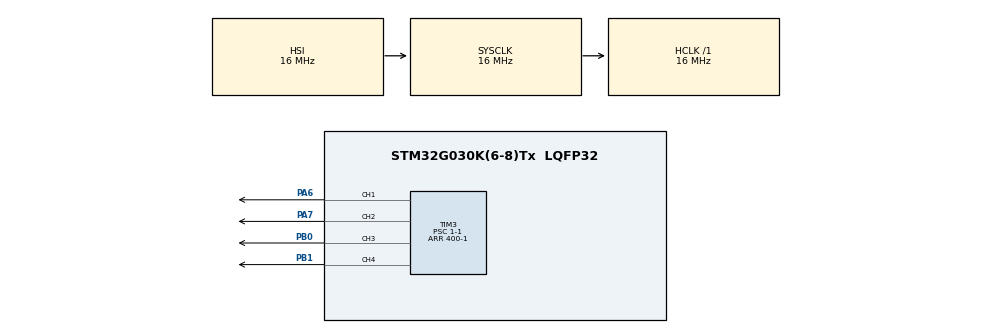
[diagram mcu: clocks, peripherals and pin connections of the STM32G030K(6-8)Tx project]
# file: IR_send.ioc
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Mcu.Family=STM32G0
Mcu.Name=STM32G030K(6-8)Tx
Mcu.Package=LQFP32
NVIC.TIM1_BRK_UP_TRG_COM_IRQn=true\:0\:0\:false\:false\:true\:true\:true\:true
PA13.Mode=Serial_Wire
PA13.Signal=SYS_SWDIO
PA14-BOOT0.Mode=Serial_Wire
PA14-BOOT0.Signal=SYS_SWCLK
PA6.Signal=S_TIM3_CH1
PA7.Signal=S_TIM3_CH2
PB0.Signal=S_TIM3_CH3
PB1.Signal=S_TIM3_CH4
ProjectManager.HeapSize=0x200
ProjectManager.StackSize=0x400
ProjectManager.TargetToolchain=STM32CubeIDE
RCC.AHBFreq_Value=16000000
RCC.CortexFreq_Value=16000000
RCC.EXTERNAL_CLOCK_VALUE=12288000
RCC.HCLKFreq_Value=16000000
RCC.HSE_VALUE=8000000
RCC.HSI_VALUE=16000000
RCC.LSE_VALUE=32768
RCC.SYSCLKFreq_VALUE=16000000
RCC.VCOOutputFreq_Value=128000000
SH.S_TIM3_CH1.0=TIM3_CH1,PWM Generation1 CH1
SH.S_TIM3_CH2.0=TIM3_CH2,PWM Generation2 CH2
SH.S_TIM3_CH3.0=TIM3_CH3,PWM Generation3 CH3
SH.S_TIM3_CH4.0=TIM3_CH4,PWM Generation4 CH4
TIM1.Period=256-1
TIM1.Prescaler=16000-1
TIM3.Channel-PWM\ Generation1\ CH1=TIM_CHANNEL_1
TIM3.Channel-PWM\ Generation2\ CH2=TIM_CHANNEL_2
TIM3.Channel-PWM\ Generation3\ CH3=TIM_CHANNEL_3
TIM3.Channel-PWM\ Generation4\ CH4=TIM_CHANNEL_4
TIM3.Period=400-1
TIM3.Prescaler=1-1
VP_TIM1_VS_ClockSourceINT.Mode=Internal
VP_TIM3_VS_ClockSourceINT.Mode=Internal
board=custom

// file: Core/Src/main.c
/* USER CODE BEGIN Header */
/**
  ******************************************************************************
  * @file           : main.c
  * @brief          : Main program body
  ******************************************************************************
  * @attention
  *
  * Copyright (c) 2024 STMicroelectronics.
  * All rights reserved.
  *
  * This software is licensed under terms that can be found in the LICENSE file
  * in the root directory of this software component.
  * If no LICENSE file comes with this software, it is provided AS-IS.
  *
  ******************************************************************************
  */
/* USER CODE END Header */
#include "main.h"

TIM_HandleTypeDef htim1;
TIM_HandleTypeDef htim3;

/* USER CODE BEGIN PV */
uint32_t tenth_of_a_millisecond = 0;
uint32_t overflow_counter = 0;

/* USER CODE END PV */

void SystemClock_Config(void);
static void MX_GPIO_Init(void);
static void MX_TIM1_Init(void);
static void MX_TIM3_Init(void);
/* USER CODE BEGIN PFP */
uint32_t time_counter();
void HAL_TIM_PeriodElapsedCallback(TIM_HandleTypeDef *htim);
void exe_IR();

/* USER CODE END PFP */

/* USER CODE BEGIN 0 */
uint32_t time_counter(){
	return(overflow_counter << 8) + TIM1->CNT;
}

void HAL_TIM_PeriodElapsedCallback(TIM_HandleTypeDef *htim){
	if(htim == &htim1){
		overflow_counter++;
	}
}

void exe_IR(){
	tenth_of_a_millisecond = time_counter();
	if(tenth_of_a_millisecond % 10 < 2){
		__HAL_TIM_SET_COMPARE(&htim3, TIM_CHANNEL_1, 200);
		__HAL_TIM_SET_COMPARE(&htim3, TIM_CHANNEL_2, 0);
		__HAL_TIM_SET_COMPARE(&htim3, TIM_CHANNEL_3, 0);
		__HAL_TIM_SET_COMPARE(&htim3, TIM_CHANNEL_4, 0);
	}else if(tenth_of_a_millisecond % 10 < 4){
		__HAL_TIM_SET_COMPARE(&htim3, TIM_CHANNEL_1, 0);
		__HAL_TIM_SET_COMPARE(&htim3, TIM_CHANNEL_2, 150);
		__HAL_TIM_SET_COMPARE(&htim3, TIM_CHANNEL_3, 0);
		__HAL_TIM_SET_COMPARE(&htim3, TIM_CHANNEL_4, 0);
	}else if(tenth_of_a_millisecond % 10 < 6){
		__HAL_TIM_SET_COMPARE(&htim3, TIM_CHANNEL_1, 0);
		__HAL_TIM_SET_COMPARE(&htim3, TIM_CHANNEL_2, 0);
		__HAL_TIM_SET_COMPARE(&htim3, TIM_CHANNEL_3, 100);
		__HAL_TIM_SET_COMPARE(&htim3, TIM_CHANNEL_4, 0);
	}else if(tenth_of_a_millisecond % 10 < 8){
		__HAL_TIM_SET_COMPARE(&htim3, TIM_CHANNEL_1, 0);
		__HAL_TIM_SET_COMPARE(&htim3, TIM_CHANNEL_2, 0);
		__HAL_TIM_SET_COMPARE(&htim3, TIM_CHANNEL_3, 0);
		__HAL_TIM_SET_COMPARE(&htim3, TIM_CHANNEL_4, 50);
	}else{
		__HAL_TIM_SET_COMPARE(&htim3, TIM_CHANNEL_1, 0);
		__HAL_TIM_SET_COMPARE(&htim3, TIM_CHANNEL_2, 0);
		__HAL_TIM_SET_COMPARE(&htim3, TIM_CHANNEL_3, 0);
		__HAL_TIM_SET_COMPARE(&htim3, TIM_CHANNEL_4, 0);
	}
}

/* USER CODE END 0 */

int main(void)
{

  /* MCU Configuration--------------------------------------------------------*/

  /* Reset of all peripherals, Initializes the Flash interface and the Systick. */
  HAL_Init();

  /* Configure the system clock */
  SystemClock_Config();

  /* Initialize all configured peripherals */
  MX_GPIO_Init();
  MX_TIM1_Init();
  MX_TIM3_Init();
  /* USER CODE BEGIN 2 */
  HAL_TIM_Base_Start_IT(&htim1);
  HAL_TIM_PWM_Start(&htim3, TIM_CHANNEL_1);
  HAL_TIM_PWM_Start(&htim3, TIM_CHANNEL_2);
  HAL_TIM_PWM_Start(&htim3, TIM_CHANNEL_3);
  HAL_TIM_PWM_Start(&htim3, TIM_CHANNEL_4);

  /* USER CODE END 2 */

  /* Infinite loop */
  while (1)
  {

    /* USER CODE BEGIN 3 */
	  exe_IR();

  }
  /* USER CODE END 3 */
}

void SystemClock_Config(void)
{
  RCC_OscInitTypeDef RCC_OscInitStruct = {0};
  RCC_ClkInitTypeDef RCC_ClkInitStruct = {0};

  /** Configure the main internal regulator output voltage
  */
  HAL_PWREx_ControlVoltageScaling(PWR_REGULATOR_VOLTAGE_SCALE1);

  /** Initializes the RCC Oscillators according to the specified parameters
  * in the RCC_OscInitTypeDef structure.
  */
  RCC_OscInitStruct.OscillatorType = RCC_OSCILLATORTYPE_HSI;
  RCC_OscInitStruct.HSIState = RCC_HSI_ON;
  RCC_OscInitStruct.HSIDiv = RCC_HSI_DIV1;
  RCC_OscInitStruct.HSICalibrationValue = RCC_HSICALIBRATION_DEFAULT;
  RCC_OscInitStruct.PLL.PLLState = RCC_PLL_NONE;
  if (HAL_RCC_OscConfig(&RCC_OscInitStruct) != HAL_OK)
  {
    Error_Handler();
  }

  /** Initializes the CPU, AHB and APB buses clocks
  */
  RCC_ClkInitStruct.ClockType = RCC_CLOCKTYPE_HCLK|RCC_CLOCKTYPE_SYSCLK
                              |RCC_CLOCKTYPE_PCLK1;
  RCC_ClkInitStruct.SYSCLKSource = RCC_SYSCLKSOURCE_HSI;
  RCC_ClkInitStruct.AHBCLKDivider = RCC_SYSCLK_DIV1;
  RCC_ClkInitStruct.APB1CLKDivider = RCC_HCLK_DIV1;

  if (HAL_RCC_ClockConfig(&RCC_ClkInitStruct, FLASH_LATENCY_0) != HAL_OK)
  {
    Error_Handler();
  }
}

static void MX_TIM1_Init(void)
{

  TIM_ClockConfigTypeDef sClockSourceConfig = {0};
  TIM_MasterConfigTypeDef sMasterConfig = {0};

  htim1.Instance = TIM1;
  htim1.Init.Prescaler = 16000-1;
  htim1.Init.CounterMode = TIM_COUNTERMODE_UP;
  htim1.Init.Period = 256-1;
  htim1.Init.ClockDivision = TIM_CLOCKDIVISION_DIV1;
  htim1.Init.RepetitionCounter = 0;
  htim1.Init.AutoReloadPreload = TIM_AUTORELOAD_PRELOAD_DISABLE;
  if (HAL_TIM_Base_Init(&htim1) != HAL_OK)
  {
    Error_Handler();
  }
  sClockSourceConfig.ClockSource = TIM_CLOCKSOURCE_INTERNAL;
  if (HAL_TIM_ConfigClockSource(&htim1, &sClockSourceConfig) != HAL_OK)
  {
    Error_Handler();
  }
  sMasterConfig.MasterOutputTrigger = TIM_TRGO_RESET;
  sMasterConfig.MasterOutputTrigger2 = TIM_TRGO2_RESET;
  sMasterConfig.MasterSlaveMode = TIM_MASTERSLAVEMODE_DISABLE;
  if (HAL_TIMEx_MasterConfigSynchronization(&htim1, &sMasterConfig) != HAL_OK)
  {
    Error_Handler();
  }

}

static void MX_TIM3_Init(void)
{

  TIM_ClockConfigTypeDef sClockSourceConfig = {0};
  TIM_MasterConfigTypeDef sMasterConfig = {0};
  TIM_OC_InitTypeDef sConfigOC = {0};

  htim3.Instance = TIM3;
  htim3.Init.Prescaler = 1-1;
  htim3.Init.CounterMode = TIM_COUNTERMODE_UP;
  htim3.Init.Period = 400-1;
  htim3.Init.ClockDivision = TIM_CLOCKDIVISION_DIV1;
  htim3.Init.AutoReloadPreload = TIM_AUTORELOAD_PRELOAD_DISABLE;
  if (HAL_TIM_Base_Init(&htim3) != HAL_OK)
  {
    Error_Handler();
  }
  sClockSourceConfig.ClockSource = TIM_CLOCKSOURCE_INTERNAL;
  if (HAL_TIM_ConfigClockSource(&htim3, &sClockSourceConfig) != HAL_OK)
  {
    Error_Handler();
  }
  if (HAL_TIM_PWM_Init(&htim3) != HAL_OK)
  {
    Error_Handler();
  }
  sMasterConfig.MasterOutputTrigger = TIM_TRGO_RESET;
  sMasterConfig.MasterSlaveMode = TIM_MASTERSLAVEMODE_DISABLE;
  if (HAL_TIMEx_MasterConfigSynchronization(&htim3, &sMasterConfig) != HAL_OK)
  {
    Error_Handler();
  }
  sConfigOC.OCMode = TIM_OCMODE_PWM1;
  sConfigOC.Pulse = 0;
  sConfigOC.OCPolarity = TIM_OCPOLARITY_HIGH;
  sConfigOC.OCFastMode = TIM_OCFAST_DISABLE;
  if (HAL_TIM_PWM_ConfigChannel(&htim3, &sConfigOC, TIM_CHANNEL_1) != HAL_OK)
  {
    Error_Handler();
  }
  if (HAL_TIM_PWM_ConfigChannel(&htim3, &sConfigOC, TIM_CHANNEL_2) != HAL_OK)
  {
    Error_Handler();
  }
  if (HAL_TIM_PWM_ConfigChannel(&htim3, &sConfigOC, TIM_CHANNEL_3) != HAL_OK)
  {
    Error_Handler();
  }
  if (HAL_TIM_PWM_ConfigChannel(&htim3, &sConfigOC, TIM_CHANNEL_4) != HAL_OK)
  {
    Error_Handler();
  }
  HAL_TIM_MspPostInit(&htim3);

}

static void MX_GPIO_Init(void)
{

  /* GPIO Ports Clock Enable */
  __HAL_RCC_GPIOA_CLK_ENABLE();
  __HAL_RCC_GPIOB_CLK_ENABLE();

}

void Error_Handler(void)
{
  __disable_irq();
  while (1)
  {
  }
}
